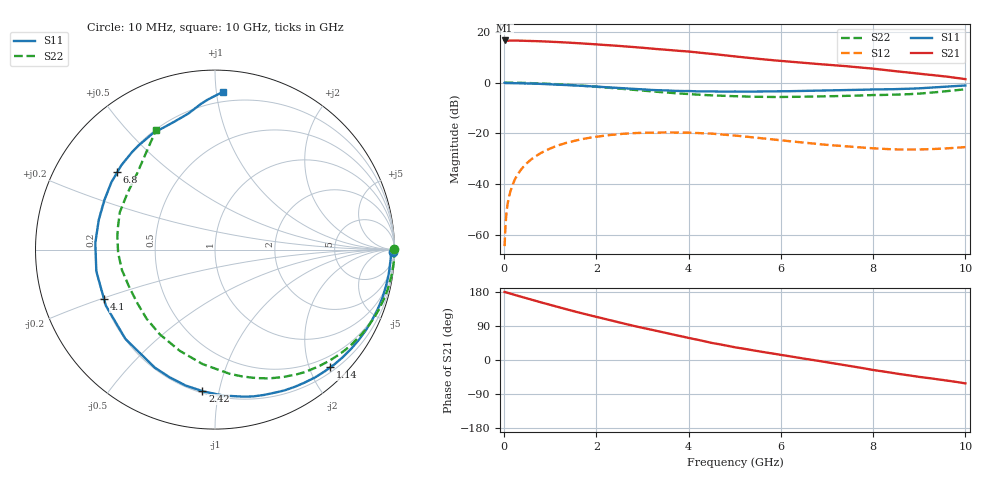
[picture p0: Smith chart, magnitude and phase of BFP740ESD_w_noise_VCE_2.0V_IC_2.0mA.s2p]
! Infineon Technologies  Discrete & RF Semiconductors
! BFP740ESD
! VCE =  2.0 V,  IC =  2.0 mA
! Common Emitter S-Parameters:  Jan 2016
# GHz  S  MA  R  50
!  f  S11  S21  S12  S22
! GHz  MAG  ANG  MAG  ANG  MAG  ANG  MAG  ANG
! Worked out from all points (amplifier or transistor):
!   233 points, 10 MHz to 10 GHz, reference 50 ohm
!   highest |S21| = 16.6 dB at 10 MHz (marker M1)
!   |S21| within 3 dB of that: start of sweep to 3.07 GHz
!   unconditionally stable (mu >= 1): 6.861 GHz to 9.623 GHz
!   at 200 MHz: K = 0.02, MSG = 28.0 dB, |S12| = -39.5 dB
!   at 1.74 GHz: K = 0.17, MSG = 18.7 dB, |S12| = -22.1 dB
!   at 10 GHz: K = 0.65, MSG = 13.4 dB, |S12| = -25.4 dB
!   lowest NFmin = 0.52 dB at 450 MHz
!   S11 on the Smith chart (normalised r, x): 10 MHz: open; 1.14 GHz: 0.28, -2.35; 2.42 GHz: 0.21, -0.89; 4.1 GHz: 0.20, -0.20; 6.8 GHz: 0.20, +0.34; 10 GHz: 0.13, +1.04
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0.01  0.9941 -0.9  6.774 179.6  0.0006 85.9  0.9975 0.2
0.03  0.9806 -1.4  6.67 179.1  0.0016 92.3  0.9996 -0.9
0.07  0.98 -3.0  6.705 177.5  0.0038 88.4  0.9993 -2.1
0.13  0.9786 -5.3  6.736 175.5  0.0069 85.8  0.9984 -3.9
0.24  0.9754 -9.7  6.714 171.4  0.0128 82.9  0.9956 -7.1
0.46  0.9671 -18.5  6.668 163.8  0.0242 76.3  0.9863 -13.6
0.7  0.953 -28.1  6.578 155.5  0.0363 69.1  0.971 -20.6
1.14  0.9181 -45.6  6.309 140.8  0.0566 56.3  0.9318 -33.2
1.4  0.8935 -56.0  6.132 132.2  0.067 48.9  0.9035 -40.6
1.68  0.8657 -66.7  5.926 123.4  0.0766 41.2  0.8703 -48.3
1.98  0.8371 -78.1  5.68 114.4  0.0855 33.6  0.8337 -56.2
2.42  0.7913 -95.1  5.348 101.2  0.0956 22.6  0.7743 -67.9
2.92  0.7433 -114.0  4.925 87.0  0.102 10.7  0.706 -81.2
3.4  0.7057 -131.4  4.527 74.2  0.104 0.4  0.6497 -93.5
4.1  0.6767 -156.1  4.008 55.8  0.1025 -13.2  0.5877 -111.8
4.5  0.6722 -169.6  3.702 45.1  0.099 -20.8  0.5636 -123.0
5.1  0.666 174.6  3.218 31.7  0.0889 -29.5  0.5371 -136.8
6  0.6751 155.8  2.679 13.5  0.0729 -37.8  0.5215 -156.6
6.8  0.6946 141.6  2.33 -2.0  0.0619 -39.6  0.5342 -173.9
7.6  0.7195 126.3  2.039 -17.8  0.0539 -37.8  0.554 168.1
8.4  0.7411 110.7  1.714 -33.8  0.0486 -32.8  0.5768 149.2
10  0.8803 87.1  1.172 -61.7  0.0537 -21.8  0.7408 116.3
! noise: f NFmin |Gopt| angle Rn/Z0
0.45  0.52  0.67  7  0.22
0.9  0.55  0.67  18  0.22
1.9  0.63  0.57  42  0.18
2.4  0.73  0.51  59  0.2
5.5  1.22  0.38  165  0.09
10  2.98  0.7  -98  1.03
